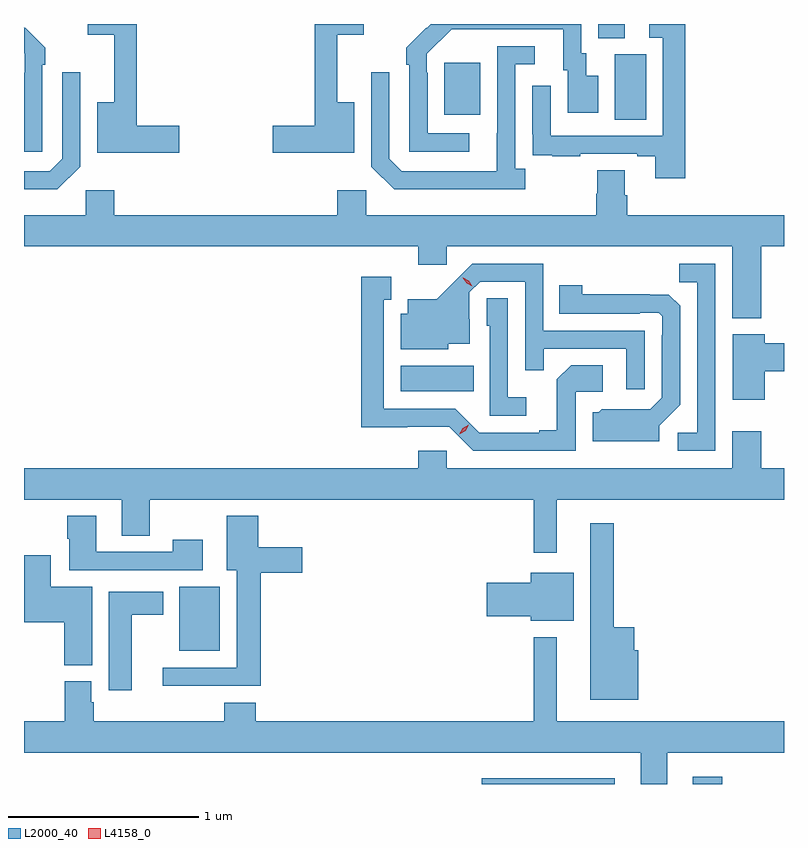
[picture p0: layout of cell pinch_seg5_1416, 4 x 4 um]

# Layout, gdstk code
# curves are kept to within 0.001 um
import gdstk
lib = gdstk.Library(unit=1e-6, precision=1e-09)
def R(c, l, rs):  # rectangles x0, y0, x1, y1
    for r in rs: c.add(gdstk.rectangle(r[:2], r[2:], *l))
def P(c, l, *ps):  # polygons
    for p in ps: c.add(gdstk.Polygon(p, *l))
L2000_40 = (2000, 40)
L4158_0 = (4158, 0)

pinch_seg5_1416 = lib.new_cell('pinch_seg5_1416')
R(pinch_seg5_1416, L2000_40, [(147.123,889.895,147.823,889.924), (148.235,889.895,148.388,889.933), (145.532,890.597,145.744,890.932), (146.696,891.962,147.08,892.096), (147.824,893.392,147.988,893.736), (146.927,893.417,147.115,893.692), (147.737,893.821,147.877,893.895)])
P(pinch_seg5_1416, L2000_40, [(147.058,893.319),(146.838,893.319),(146.838,893.639),(146.835,893.639),(146.835,893.739),(146.964,893.868),(147.551,893.868),(147.551,893.652),(147.575,893.652),(147.575,893.427),(147.736,893.427),(147.736,893.623),(147.673,893.623),(147.673,893.742),(147.648,893.742),(147.648,893.895),(146.855,893.895),(146.833,893.873),(146.832,893.874),(146.727,893.769),(146.727,893.681),(146.742,893.681),(146.742,893.223),(147.058,893.223)],
  [(145.531,893.36),(145.307,893.36),(145.307,893.895),(145.05,893.895),(145.05,893.838),(145.19,893.838),(145.19,893.482),(145.1,893.482),(145.1,893.218),(145.531,893.218)],
  [(146.452,893.482),(146.363,893.482),(146.363,893.838),(146.503,893.838),(146.503,893.895),(146.245,893.895),(146.245,893.36),(146.022,893.36),(146.022,893.218),(146.452,893.218)],
  [(148.193,893.895),(148.005,893.895),(148.005,893.823),(148.077,893.823),(148.077,893.307),(147.486,893.307),(147.486,893.569),(147.39,893.569),(147.39,893.314),(147.391,893.314),(147.391,893.205),(147.493,893.205),(147.493,893.199),(147.641,893.199),(147.641,893.211),(147.941,893.211),(147.941,893.199),(148.037,893.199),(148.037,893.082),(148.193,893.082)],
  [(144.81,893.681),(144.825,893.681),(144.825,893.769),(144.72,893.874),(144.719,893.873),(144.714,893.878),(144.714,893.742),(144.717,893.739),(144.717,893.639),(144.714,893.639),(144.714,893.223),(144.81,893.223)],
  [(147.352,893.134),(147.3,893.134),(147.3,893.682),(147.403,893.682),(147.403,893.778),(147.204,893.778),(147.203,893.121),(146.703,893.121),(146.637,893.187),(146.637,893.641),(146.541,893.641),(146.541,893.145),(146.662,893.024),(147.352,893.024)],
  [(145.011,893.145),(145.011,893.641),(144.915,893.641),(144.915,893.187),(144.849,893.121),(144.714,893.121),(144.714,893.024),(144.89,893.024)],
  [(148.595,892.724),(148.714,892.724),(148.714,892.888),(147.89,892.888),(147.89,892.994),(147.877,892.994),(147.877,893.126),(147.73,893.126),(147.73,893.001),(147.725,893.001),(147.725,892.888),(146.514,892.888),(146.514,893.02),(146.363,893.02),(146.363,892.888),(145.19,892.888),(145.19,893.02),(145.038,893.02),(145.038,892.888),(144.714,892.888),(144.714,892.724),(146.789,892.724),(146.789,892.629),(146.94,892.629),(146.94,892.724),(148.442,892.724),(148.442,892.346),(148.595,892.346)],
  [(148.353,892.632),(148.162,892.632),(148.162,892.537),(148.257,892.537),(148.257,891.744),(148.155,891.744),(148.155,891.648),(148.353,891.648)],
  [(147.981,892.281),(147.447,892.281),(147.447,892.632),(147.074,892.632),(146.887,892.447),(146.735,892.447),(146.735,892.369),(146.696,892.369),(146.696,892.184),(146.946,892.184),(146.946,892.211),(147.061,892.211),(147.061,892.34),(147.057,892.34),(147.057,892.482),(147.114,892.539),(147.351,892.539),(147.351,892.072),(147.449,892.072),(147.449,892.185),(147.885,892.185),(147.885,891.972),(147.981,891.972)],
  [(147.618,891.96),(147.76,891.96),(147.76,892.1),(147.595,892.1),(147.519,892.024),(147.519,891.757),(147.425,891.757),(147.425,891.744),(147.111,891.744),(146.985,891.87),(146.608,891.87),(146.608,892.443),(146.647,892.443),(146.647,892.564),(146.49,892.564),(146.49,891.773),(146.952,891.774),(147.078,891.648),(147.618,891.648)],
  [(148.057,891.78),(148.167,891.89),(148.167,892.412),(148.108,892.471),(147.651,892.472),(147.651,892.519),(147.532,892.519),(147.532,892.371),(147.956,892.371),(147.956,892.374),(148.056,892.374),(148.074,892.356),(148.074,892.256),(148.071,892.256),(148.071,891.927),(148.011,891.867),(147.754,891.868),(147.738,891.852),(147.707,891.852),(147.707,891.698),(148.057,891.698)],
  [(147.358,891.931),(147.261,891.931),(147.261,892.451),(147.15,892.451),(147.15,892.308),(147.165,892.308),(147.165,891.834),(147.358,891.834)],
  [(148.612,892.067),(148.714,892.067),(148.714,892.214),(148.612,892.214),(148.612,892.261),(148.445,892.261),(148.445,891.918),(148.612,891.918)],
  [(144.714,891.392),(145.229,891.392),(145.229,891.202),(145.377,891.202),(145.377,891.392),(147.396,891.392),(147.396,891.111),(147.517,891.111),(147.517,891.392),(148.714,891.392),(148.714,891.556),(148.595,891.556),(148.595,891.751),(148.442,891.751),(148.442,891.556),(146.94,891.556),(146.94,891.649),(146.789,891.649),(146.789,891.556),(144.714,891.556)],
  [(145.654,891.181),(145.498,891.181),(145.498,891.117),(145.093,891.117),(145.093,891.307),(144.941,891.307),(144.941,891.187),(144.953,891.187),(144.953,891.021),(145.654,891.021)],
  [(145.961,891.008),(146.179,891.008),(146.179,891.142),(145.948,891.142),(145.948,891.307),(145.781,891.307),(145.781,891.02),(145.835,891.02),(145.835,890.508),(145.443,890.508),(145.443,890.411),(145.961,890.411)],
  [(147.946,890.598),(147.925,890.598),(147.925,890.719),(147.817,890.719),(147.817,891.268),(147.695,891.268),(147.695,890.339),(147.946,890.339)],
  [(145.072,890.932),(144.856,890.932),(144.856,891.1),(144.714,891.1),(144.714,890.747),(144.926,890.747),(144.926,890.521),(145.072,890.521)],
  [(147.607,891.007),(147.38,891.007),(147.38,890.955),(147.15,890.955),(147.15,890.777),(147.38,890.777),(147.38,890.753),(147.607,890.753)],
  [(145.282,890.786),(145.447,890.786),(145.447,890.908),(145.16,890.908),(145.16,890.388),(145.282,890.388)],
  [(148.099,890.06),(148.714,890.06),(148.714,890.224),(147.517,890.224),(147.517,890.668),(147.396,890.668),(147.396,890.224),(145.934,890.224),(145.934,890.323),(145.769,890.323),(145.769,890.224),(145.082,890.224),(145.082,890.325),(145.069,890.325),(145.069,890.436),(144.929,890.436),(144.929,890.224),(144.714,890.224),(144.714,890.06),(147.959,890.06),(147.959,889.895),(148.099,889.895)])
P(pinch_seg5_1416, L4158_0, [(147.074,892.515),(147.043,892.53),(147.024,892.559),(147.024,892.559),(147.025,892.559),(147.056,892.545),(147.074,892.515),(147.074,892.515)],
  [(147.005,891.735),(147.005,891.735),(147.023,891.767),(147.055,891.786),(147.055,891.786),(147.055,891.786),(147.038,891.753),(147.006,891.735)])

lib.write_gds('pinch_seg5_1416.gds')
